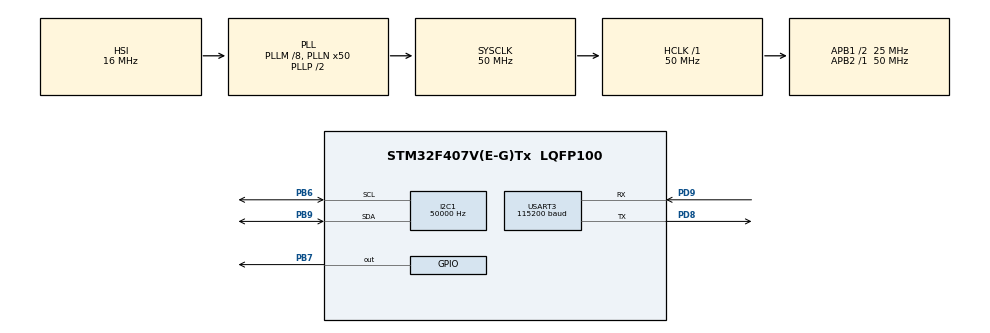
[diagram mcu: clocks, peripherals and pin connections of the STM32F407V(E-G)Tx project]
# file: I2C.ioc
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I2C1.ClockSpeed=50000
Mcu.Family=STM32F4
Mcu.Name=STM32F407V(E-G)Tx
Mcu.Package=LQFP100
NVIC.PriorityGroup=NVIC_PRIORITYGROUP_4
PA13.Mode=Serial_Wire
PA13.Signal=SYS_JTMS-SWDIO
PA14.Mode=Serial_Wire
PA14.Signal=SYS_JTCK-SWCLK
PB6.Mode=I2C
PB6.Signal=I2C1_SCL
PB7.Signal=GPIO_Output
PB9.Mode=I2C
PB9.Signal=I2C1_SDA
PD8.Mode=Asynchronous
PD8.Signal=USART3_TX
PD9.Mode=Asynchronous
PD9.Signal=USART3_RX
ProjectManager.HeapSize=0x200
ProjectManager.StackSize=0x400
ProjectManager.TargetToolchain=STM32CubeIDE
RCC.48MHZClocksFreq_Value=25000000
RCC.AHBFreq_Value=50000000
RCC.APB1CLKDivider=RCC_HCLK_DIV2
RCC.APB1Freq_Value=25000000
RCC.APB1TimFreq_Value=50000000
RCC.APB2Freq_Value=50000000
RCC.APB2TimFreq_Value=50000000
RCC.CortexFreq_Value=50000000
RCC.HCLKFreq_Value=50000000
RCC.HSE_VALUE=25000000
RCC.HSI_VALUE=16000000
RCC.LSE_VALUE=32768
RCC.PLLM=8
RCC.PLLN=50
RCC.SYSCLKFreq_VALUE=50000000
RCC.SYSCLKSource=RCC_SYSCLKSOURCE_PLLCLK
RCC.VCOOutputFreq_Value=100000000
USART3.BaudRate=115200
USART3.VirtualMode=VM_ASYNC
board=custom

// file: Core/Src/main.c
/* USER CODE BEGIN Header */
/**
 ******************************************************************************
 * @file           : main.c
 * @brief          : Main program body
 ******************************************************************************
 * @attention
 *
 * <h2><center>&copy; Copyright (c) 2021 STMicroelectronics.
 * All rights reserved.</center></h2>
 *
 * This software component is licensed by ST under BSD 3-Clause license,
 * the "License"; You may not use this file except in compliance with the
 * License. You may obtain a copy of the License at:
 *                        opensource.org/licenses/BSD-3-Clause
 *
 ******************************************************************************
 */
/* USER CODE END Header */
#include "main.h"

/* USER CODE BEGIN Includes */
#include "i2c1control.h"
#include "math.h"
/* USER CODE END Includes */

I2C_HandleTypeDef hi2c1;

UART_HandleTypeDef huart3;

/* USER CODE BEGIN PV */
uint8_t conToChar[4] = { 0 };
/* USER CODE END PV */

void SystemClock_Config(void);
static void MX_GPIO_Init(void);
static void MX_I2C1_Init(void);
static void MX_USART3_UART_Init(void);
/* USER CODE BEGIN PFP */

uint16_t scanUart(void) { //Универсальный ввод
	uint8_t enter = 0, scan[4] = { 0 }, i = 0, countLett = 0;
	uint16_t result = 0;

	for (int i = 0; i <= 4; i++)
		scan[i] = 0;

	/*Ввод значений с использованием Enter и Backspace*/
	while (enter != '\r') {
		HAL_UART_Receive(&huart3, &scan[i], 1, 10); //Ввод символа
		enter = scan[i]; //запись в переменную для проверки нажатие Enter или Backspace

		/*Проверка на ввод чего либо или нажатие Enter*/
		if (scan[i] == 0 || scan[i] == '\r')
			continue;

		/*Проверка на нажатие Backspace*/
		if (enter == '\b') {
			/*Проверка на наличие елементов для очистки*/
			if (i) {
				/*Стирание символа в консоли*/
				HAL_UART_Transmit(&huart3, &scan[i], 1, 10);
				HAL_UART_Transmit(&huart3, (uint8_t*) " ", 1, 10);
				HAL_UART_Transmit(&huart3, &scan[i], 1, 10);

				/*Очистка символа Backspace и стираемого символа*/
				scan[i--] = 0;
				scan[i] = 0;
			} else
				/*Очистка символа Backspace так как нет символа для очистки*/
				scan[i] = 0;
			continue;
		}
		HAL_UART_Transmit(&huart3, &scan[i], 1, 10); //Вывод вводимого символа в консоль
		i++;
	}

	countLett = i - 1; //Сохранение количества вводимых символов

	/*Проверка на ввод цифр*/
	for (int i = 0, l = 0; i <= countLett; i++) {
		/*Если введена последовательность цифр и букв, то возращаем 0, если нет - Проверка*/
		if (scan[i] < '0' || scan[i] > '9') {
			if (l)
				result = 0;
			else if (scan[i + 1] == '\r') // Если после вводимого символа ничего нет - возращаем символ, есть - возращаем 0
					result = scan[i];
				else
					result = 0;
			goto Return;
		}
		l++;
	}
	/*Конвертация в целочисленные значения и последующий возврат*/
	for (i = 0; i <= countLett; i++) {
		scan[i] -= '0';
		result += (scan[i] * (pow(10, countLett - i)));
	}

	Return: return result;
}

void convertToChar(uint16_t valForConv) {
	uint8_t length;
	for (int i = 3; i >= 0; i--) {
		if ((valForConv / pow(10, i)) != 0) {
			length = i + 1;
			break;
		}
	}

	for (int i = length; i != 0; i--) {
		conToChar[i - 1] = valForConv % 10;
		conToChar[i - 1] += '0';
		valForConv /= 10;
	}
}
/* USER CODE END PFP */

int main(void) {

	/* MCU Configuration--------------------------------------------------------*/

	/* Reset of all peripherals, Initializes the Flash interface and the Systick. */
	HAL_Init();

	/* Configure the system clock */
	SystemClock_Config();

	/* Initialize all configured peripherals */
	MX_GPIO_Init();
	MX_I2C1_Init();
	MX_USART3_UART_Init();
	/* USER CODE BEGIN 2 */
	HAL_Delay(10); //Задержка необходиая для правильной работы контроллера PCA
	HAL_GPIO_WritePin(GPIOB, GPIO_PIN_7, GPIO_PIN_RESET); //Запуск контроллера
	uint8_t devId = 0x80, numberLed = 0, turn = 0;//Адрес контроллера, номер светодиода, состояние PWM(Включен | Выключен)
	uint8_t TxBuff[2], choose = 0, cycle = 5;//Буфер хранящий адресс и данные, Выбор действия, Скважность
	uint16_t freq = 25;//Частота
	/* USER CODE END 2 */

	/* Infinite loop */
	/* USER CODE BEGIN WHILE */
	setFreq(freq);//Задание частоты по умолчанию - 25Hz
	setDuty(cycle);//Задание скважности по умолчанию - 5%

	/*Первоначальная настройка контроллера: Сброс настроек, Разрешение управления шинной светодиодов, Выключение всех светодиодов*/
	TxBuff[0] = 0x00;
	TxBuff[1] = 0x80;
	HAL_I2C_Master_Transmit(&hi2c1, devId, TxBuff, 2, 1000);
	TxBuff[0] = 0x00;
	TxBuff[1] = 0x01;
	HAL_I2C_Master_Transmit(&hi2c1, devId, TxBuff, 2, 1000);
	TxBuff[0] = 0xFD;
	TxBuff[1] = 0x10;
	HAL_I2C_Master_Transmit(&hi2c1, devId, TxBuff, 2, 1000);

	turn = 10; //Задание первоначального состояния PWM(ШИМ запущен, но необходимо выбрать светодиод)

	while (1) {

/*Вывод главного меню*/
		/*Проверка состояния PWM*/
		switch (turn) {
		case 0:
			HAL_UART_Transmit(&huart3, (uint8_t*) "\n\n\n\n\r!!!PWM OFF!!!",
					13 + 5, 10);
			break;
		case 1:
			HAL_UART_Transmit(&huart3, (uint8_t*) "\n\n\n\n\r!!!PWM ON!!!",
					12 + 5, 10);
			break;
		case 10:
			HAL_UART_Transmit(&huart3,
					(uint8_t*) "\n\n\n\n\r!!!PWM ON BUT NO LED SELECTED!!!",
					32 + 5, 10);
			break;
		}
		/*Включение ШИМ*/
		HAL_UART_Transmit(&huart3, (uint8_t*) "\n\r\tN - Turn on the PWM;",20 + 3, 10);

		/*Выбор светодиода и его текущее состояние*/
		HAL_UART_Transmit(&huart3, (uint8_t*) "\n\r\t1 - LED selection;(Currently: ", 30 + 3, 10);
		if (numberLed < 1 || numberLed > 16)
			switch (numberLed) {
			case 0:
				HAL_UART_Transmit(&huart3, (uint8_t*) "no LED is on)\n\r", 13 + 2, 10);
				break;
			case 'A':
				HAL_UART_Transmit(&huart3, (uint8_t*) "All LED is on)\n\r", 18 + 2, 10);
				break;
			}
		else {
			convertToChar(numberLed);
			switch (numberLed) { //Расстановка окончаний для вывода текущего состояния
			case 1:
				HAL_UART_Transmit(&huart3, conToChar, strlen((uint8_t*) conToChar), 10);
				HAL_UART_Transmit(&huart3, (uint8_t*) "-st)\n\r", 4 + 2, 10);
				break;
			case 2:
				HAL_UART_Transmit(&huart3, conToChar, strlen((uint8_t*) conToChar), 10);
				HAL_UART_Transmit(&huart3, (uint8_t*) "-nd)\n\r", 4 + 2, 10);
				break;
			case 3:
				HAL_UART_Transmit(&huart3, conToChar, strlen((uint8_t*) conToChar), 10);
				HAL_UART_Transmit(&huart3, (uint8_t*) "-rd)\n\r", 4 + 2, 10);
				break;
			default:
				HAL_UART_Transmit(&huart3, conToChar, strlen((uint8_t*) conToChar), 10);
				HAL_UART_Transmit(&huart3, (uint8_t*) "-th)\n\r", 4 + 2, 10);
				break;
			}

		}

		/*Выбор частоты с выводом текущего состояния*/
		HAL_UART_Transmit(&huart3, (uint8_t*) "\t2 - Change the PWM frequency;(Currently: ", 41 + 1, 10);
		convertToChar(freq);
		HAL_UART_Transmit(&huart3, conToChar, strlen((uint8_t*) conToChar), 10);
		HAL_UART_Transmit(&huart3, (uint8_t*) " Hz)\n\r", 4 + 2, 10);

		/*Выбор скважности с выводом текущего состояния*/
		HAL_UART_Transmit(&huart3, (uint8_t*) "\t3 - Change Duty Cycle %;(Currently: ", 36 + 1, 10);
		convertToChar(cycle);
		HAL_UART_Transmit(&huart3, conToChar, strlen((uint8_t*) conToChar), 10);
		HAL_UART_Transmit(&huart3, (uint8_t*) " %)\n\r", 3 + 2, 10);

		/*Выключение ШИМ*/
		HAL_UART_Transmit(&huart3, (uint8_t*) "\tF - Turn off the PWM;", 21 + 1, 10);

		/*Строка выбора*/
		HAL_UART_Transmit(&huart3, (uint8_t*) "\n\n\rYour choice(After entering, press ENTER): ", 42 + 3, 10);
		choose = scanUart();//Ввод

/*Проверка ввода*/
		uint32_t temp; //Переменная для хранения временных значений, для вывода правильного текущего состояния при неправильном вводе
		switch (choose) {
		case 1: //Ввод номера светодиода
			HAL_UART_Transmit(&huart3, (uint8_t*) "\n\r\t1 - 1-st Led;", 13 + 3,10);	//	1 - 1-st Led;
			HAL_UART_Transmit(&huart3, (uint8_t*) "\n\r\t2 - 2-nd Led;", 13 + 3,10);	//	2 - 2-nd Led;
			HAL_UART_Transmit(&huart3, (uint8_t*) "\n\r\t*\n\r\t*", 2 + 6, 10);			//	*
			HAL_UART_Transmit(&huart3, (uint8_t*) "\n\r\t16 - 16-th led;",15 + 3, 10);	//	*
			HAL_UART_Transmit(&huart3, (uint8_t*) "\n\r\tA - All LEDs on.",18 + 3, 10);	//	16 - 16th Led;
			HAL_UART_Transmit(&huart3, (uint8_t*) "\n\rEnter LED number: ",18 + 2, 10);	//	A - All LEDs on.
																						//Enter LED number:
			temp = scanUart();
			if ((temp >= 1 && temp <= 16) || (temp == 'A')) { //Проверка на правильность ввода
				if (temp == 'A') //Проверка на выбор включения всех светодиодов
					setNumberLed(0xfa);
				else
				setNumberLed(temp);
				numberLed = temp;
				turn = 1;
			} else
				HAL_UART_Transmit(&huart3, (uint8_t*) "\n\rWrong number!",13 + 2, 10);
			break;

		case 2: //Ввод частоты
			HAL_UART_Transmit(&huart3, (uint8_t*) "\n\rEnter frequency(24-1526Hz): ", 28 + 2, 10);

			temp = scanUart();
			if (temp >= 24 && temp <= 1526) { //Проверка на правильность ввода
				freq = temp;
				setFreq(freq);
			} else
				HAL_UART_Transmit(&huart3, (uint8_t*) "\n\rWrong number!", 13 + 2, 10);
			break;

		case 3: //Ввод скважности
			HAL_UART_Transmit(&huart3, (uint8_t*) "\n\rEnter a value for duty cycle changes(1-100%): ", 46 + 2, 10);

			temp = scanUart();
			if (temp >= 1 && temp <= 100) { //Проверка на правильность ввода
				cycle = temp;
				setDuty(cycle);
			} else
				HAL_UART_Transmit(&huart3, (uint8_t*) "\n\rWrong number!", 13 + 2, 10);
			break;

		case 'N': //Включение ШИМ
			turnON();
			turn = 1;
			break;

		case 'F': //Выключение ШИМ
			turnOFF();
			turn = 0;
			break;
		default: //Неправильный ввод
			HAL_UART_Transmit(&huart3, (uint8_t*) "\n\rWrong number!", 13 + 2, 10);
			break;
		}

		/* USER CODE END WHILE */

	}
}

void SystemClock_Config(void) {
	RCC_OscInitTypeDef RCC_OscInitStruct = { 0 };
	RCC_ClkInitTypeDef RCC_ClkInitStruct = { 0 };

	/** Configure the main internal regulator output voltage
	 */
	__HAL_RCC_PWR_CLK_ENABLE();
	__HAL_PWR_VOLTAGESCALING_CONFIG(PWR_REGULATOR_VOLTAGE_SCALE1);
	/** Initializes the RCC Oscillators according to the specified parameters
	 * in the RCC_OscInitTypeDef structure.
	 */
	RCC_OscInitStruct.OscillatorType = RCC_OSCILLATORTYPE_HSI;
	RCC_OscInitStruct.HSIState = RCC_HSI_ON;
	RCC_OscInitStruct.HSICalibrationValue = RCC_HSICALIBRATION_DEFAULT;
	RCC_OscInitStruct.PLL.PLLState = RCC_PLL_ON;
	RCC_OscInitStruct.PLL.PLLSource = RCC_PLLSOURCE_HSI;
	RCC_OscInitStruct.PLL.PLLM = 8;
	RCC_OscInitStruct.PLL.PLLN = 50;
	RCC_OscInitStruct.PLL.PLLP = RCC_PLLP_DIV2;
	RCC_OscInitStruct.PLL.PLLQ = 4;
	if (HAL_RCC_OscConfig(&RCC_OscInitStruct) != HAL_OK) {
		Error_Handler();
	}
	/** Initializes the CPU, AHB and APB buses clocks
	 */
	RCC_ClkInitStruct.ClockType = RCC_CLOCKTYPE_HCLK | RCC_CLOCKTYPE_SYSCLK
			| RCC_CLOCKTYPE_PCLK1 | RCC_CLOCKTYPE_PCLK2;
	RCC_ClkInitStruct.SYSCLKSource = RCC_SYSCLKSOURCE_PLLCLK;
	RCC_ClkInitStruct.AHBCLKDivider = RCC_SYSCLK_DIV1;
	RCC_ClkInitStruct.APB1CLKDivider = RCC_HCLK_DIV2;
	RCC_ClkInitStruct.APB2CLKDivider = RCC_HCLK_DIV1;

	if (HAL_RCC_ClockConfig(&RCC_ClkInitStruct, FLASH_LATENCY_1) != HAL_OK) {
		Error_Handler();
	}
}

static void MX_I2C1_Init(void) {

	hi2c1.Instance = I2C1;
	hi2c1.Init.ClockSpeed = 50000;
	hi2c1.Init.DutyCycle = I2C_DUTYCYCLE_2;
	hi2c1.Init.OwnAddress1 = 0;
	hi2c1.Init.AddressingMode = I2C_ADDRESSINGMODE_7BIT;
	hi2c1.Init.DualAddressMode = I2C_DUALADDRESS_DISABLE;
	hi2c1.Init.OwnAddress2 = 0;
	hi2c1.Init.GeneralCallMode = I2C_GENERALCALL_DISABLE;
	hi2c1.Init.NoStretchMode = I2C_NOSTRETCH_DISABLE;
	if (HAL_I2C_Init(&hi2c1) != HAL_OK) {
		Error_Handler();
	}

}

static void MX_USART3_UART_Init(void) {

	huart3.Instance = USART3;
	huart3.Init.BaudRate = 115200;
	huart3.Init.WordLength = UART_WORDLENGTH_8B;
	huart3.Init.StopBits = UART_STOPBITS_1;
	huart3.Init.Parity = UART_PARITY_NONE;
	huart3.Init.Mode = UART_MODE_TX_RX;
	huart3.Init.HwFlowCtl = UART_HWCONTROL_NONE;
	huart3.Init.OverSampling = UART_OVERSAMPLING_16;
	if (HAL_UART_Init(&huart3) != HAL_OK) {
		Error_Handler();
	}

}

static void MX_GPIO_Init(void) {
	GPIO_InitTypeDef GPIO_InitStruct = { 0 };

	/* GPIO Ports Clock Enable */
	__HAL_RCC_GPIOD_CLK_ENABLE();
	__HAL_RCC_GPIOA_CLK_ENABLE();
	__HAL_RCC_GPIOB_CLK_ENABLE();

	/*Configure GPIO pin Output Level */
	HAL_GPIO_WritePin(GPIOB, GPIO_PIN_7, GPIO_PIN_RESET);

	/*Configure GPIO pin : PB7 */
	GPIO_InitStruct.Pin = GPIO_PIN_7;
	GPIO_InitStruct.Mode = GPIO_MODE_OUTPUT_PP;
	GPIO_InitStruct.Pull = GPIO_NOPULL;
	GPIO_InitStruct.Speed = GPIO_SPEED_FREQ_LOW;
	HAL_GPIO_Init(GPIOB, &GPIO_InitStruct);

}

void Error_Handler(void) {
	__disable_irq();
	while (1) {
	}
}

/************************ (C) COPYRIGHT STMicroelectronics *****END OF FILE****/
